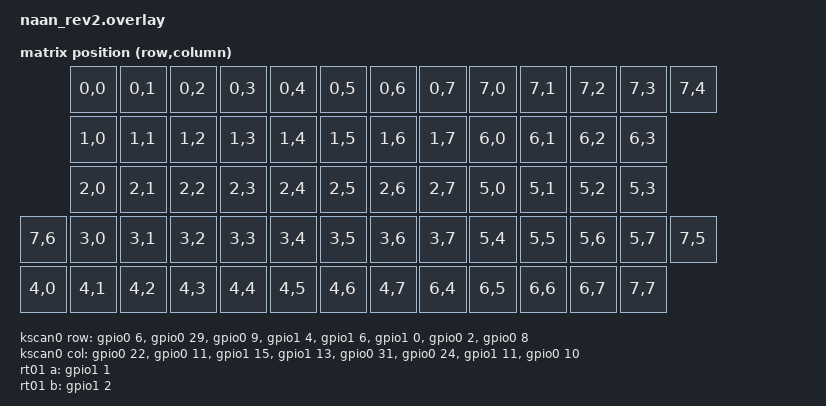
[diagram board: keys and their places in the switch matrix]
#include "naan.dtsi"

/ {
	chosen {
		zmk,kscan = &kscan0;
		zmk,matrix_transform = &default_transform;
	};

	kscan0: kscan {
		compatible = "zmk,kscan-gpio-matrix";
		label = "KSCAN";

		diode-direction = "col2row";
		row-gpios 
		    = <&gpio0 6  (GPIO_ACTIVE_HIGH | GPIO_PULL_DOWN)> 
			, <&gpio0 29 (GPIO_ACTIVE_HIGH | GPIO_PULL_DOWN)>
			, <&gpio0 9  (GPIO_ACTIVE_HIGH | GPIO_PULL_DOWN)>
			, <&gpio1 4  (GPIO_ACTIVE_HIGH | GPIO_PULL_DOWN)>
      		, <&gpio1 6  (GPIO_ACTIVE_HIGH | GPIO_PULL_DOWN)>
      		, <&gpio1 0  (GPIO_ACTIVE_HIGH | GPIO_PULL_DOWN)>
			, <&gpio0 2  (GPIO_ACTIVE_HIGH | GPIO_PULL_DOWN)>
			, <&gpio0 8  (GPIO_ACTIVE_HIGH | GPIO_PULL_DOWN)>
			;

        col-gpios
		    = <&gpio0 22 GPIO_ACTIVE_HIGH>
    		, <&gpio0 11 GPIO_ACTIVE_HIGH>
			, <&gpio1 15 GPIO_ACTIVE_HIGH>
			, <&gpio1 13 GPIO_ACTIVE_HIGH>
			, <&gpio0 31 GPIO_ACTIVE_HIGH>
			, <&gpio0 24 GPIO_ACTIVE_HIGH>
			, <&gpio1 11 GPIO_ACTIVE_HIGH>
			, <&gpio0 10 GPIO_ACTIVE_HIGH>
		    ;

	};

	default_transform: keymap_transform_0 {
		compatible = "zmk,matrix-transform";
		columns = <8>;
		rows = <8>;

		map = <
            		RC(0,0) RC(0,1) RC(0,2) RC(0,3) RC(0,4)	RC(0,5)	RC(0,6)	RC(0,7) RC(7,0) RC(7,1) RC(7,2) RC(7,3) RC(7,4) 
					RC(1,0) RC(1,1) RC(1,2) RC(1,3) RC(1,4)	RC(1,5)	RC(1,6)	RC(1,7) RC(6,0) RC(6,1) RC(6,2) RC(6,3)
					RC(2,0) RC(2,1) RC(2,2) RC(2,3) RC(2,4)	RC(2,5)	RC(2,6)	RC(2,7) RC(5,0) RC(5,1) RC(5,2) RC(5,3)
			RC(7,6) RC(3,0) RC(3,1) RC(3,2) RC(3,3) RC(3,4)	RC(3,5)	RC(3,6)	RC(3,7) RC(5,4) RC(5,5) RC(5,6) RC(5,7)	RC(7,5) 
			RC(4,0) RC(4,1) RC(4,2) RC(4,3) RC(4,4)	RC(4,5)	RC(4,6)	RC(4,7) RC(6,4) RC(6,5) RC(6,6)	RC(6,7) RC(7,7) 

		>;
	};

	rt01: encoder_01 {
        compatible = "alps,ec11";
        label = "ENCODER 01";
        a-gpios = <&gpio1 1 (GPIO_ACTIVE_HIGH | GPIO_PULL_UP)>;
        b-gpios = <&gpio1 2 (GPIO_ACTIVE_HIGH | GPIO_PULL_UP)>;
        resolution = <4>;
		status = "okay";
    };

	sensors {
        compatible = "zmk,keymap-sensors";
        sensors = <&rt01>;
    };
	
};

&rt01 {
	status = "okay";
};

&pro_micro_i2c {
	status = "okay";

	oled: ssd1306@3c {
		compatible = "solomon,ssd1306fb";
		reg = <0x3c>;
		label = "DISPLAY";
		width = <128>;
		height = <32>;
		segment-offset = <0>;
		page-offset = <0>;
		display-offset = <0>;
		multiplex-ratio = <31>;
		segment-remap;
		com-invdir;
		com-sequential;
		prechargep = <0x22>;
	};
};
